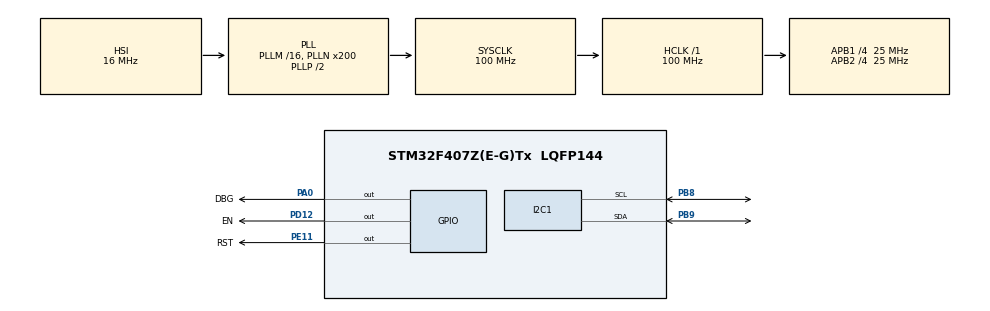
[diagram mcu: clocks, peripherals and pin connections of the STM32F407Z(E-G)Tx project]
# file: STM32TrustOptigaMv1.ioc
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I2C1.I2C_Mode=I2C_Fast
Mcu.Family=STM32F4
Mcu.Name=STM32F407Z(E-G)Tx
Mcu.Package=LQFP144
NVIC.PriorityGroup=NVIC_PRIORITYGROUP_4
NVIC.TIM2_IRQn=true\:0\:0\:false\:false\:true\:true\:true\:true
PA0-WKUP.GPIO_Label=DBG
PA0-WKUP.Signal=GPIO_Output
PB8.Mode=I2C
PB8.Signal=I2C1_SCL
PB9.Mode=I2C
PB9.Signal=I2C1_SDA
PD12.GPIO_Label=EN
PD12.PinState=GPIO_PIN_SET
PD12.Signal=GPIO_Output
PE11.GPIO_Label=RST
PE11.PinState=GPIO_PIN_SET
PE11.Signal=GPIO_Output
ProjectManager.HeapSize=0x200
ProjectManager.StackSize=0x400
ProjectManager.TargetToolchain=STM32CubeIDE
RCC.48MHZClocksFreq_Value=50000000
RCC.AHBFreq_Value=100000000
RCC.APB1CLKDivider=RCC_HCLK_DIV4
RCC.APB1Freq_Value=25000000
RCC.APB1TimFreq_Value=50000000
RCC.APB2CLKDivider=RCC_HCLK_DIV4
RCC.APB2Freq_Value=25000000
RCC.APB2TimFreq_Value=50000000
RCC.CortexFreq_Value=100000000
RCC.HCLKFreq_Value=100000000
RCC.HSE_VALUE=25000000
RCC.HSI_VALUE=16000000
RCC.LSE_VALUE=32768
RCC.PLLN=200
RCC.SYSCLKFreq_VALUE=100000000
RCC.SYSCLKSource=RCC_SYSCLKSOURCE_PLLCLK
RCC.VCOOutputFreq_Value=200000000
VP_TIM2_VS_ClockSourceINT.Mode=Internal
board=custom

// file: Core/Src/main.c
/* USER CODE BEGIN Header */
/**
  ******************************************************************************
  * @file           : main.c
  * @brief          : Main program body
  ******************************************************************************
  * @attention
  *
  * Copyright (c) 2022 STMicroelectronics.
  * All rights reserved.
  *
  * This software is licensed under terms that can be found in the LICENSE file
  * in the root directory of this software component.
  * If no LICENSE file comes with this software, it is provided AS-IS.
  *
  ******************************************************************************
  */
  /* USER CODE END Header */
  /* Includes ------------------------------------------------------------------*/
#include "main.h"

/* USER CODE BEGIN Includes */
#include "optiga/optiga_util.h"
#include "optiga/pal/pal_os_event.h"
#include "optiga/pal/pal.h"
#include "optiga/pal/pal_os_timer.h"
#include "optiga/optiga_crypt.h"
/* USER CODE END Includes */

I2C_HandleTypeDef hi2c1;

TIM_HandleTypeDef htim2;

void SystemClock_Config(void);
static void MX_GPIO_Init(void);
static void MX_I2C1_Init(void);
void MX_TIM2_Init(void);

/* USER CODE BEGIN 0 */

optiga_crypt_t* me_crypt = NULL;

uint8_t random_data_buffer[32];

uint8_t return_value = 0;

optiga_lib_status_t return_status;

optiga_util_t* me_util = NULL;

uint8_t _hash_context_buffer[OPTIGA_HASH_CONTEXT_LENGTH_SHA_256];

optiga_hash_context_t me_hash = {

		.context_buffer = _hash_context_buffer,

		.context_buffer_length = sizeof(_hash_context_buffer),

		.hash_algo = (uint8_t)OPTIGA_HASH_TYPE_SHA_256
};

uint8_t _v[] = { 0x01, 0x01, 0x01, 0x01, 0x01, 0x01, 0x01, 0x01 };

hash_data_from_host_t hash_input = {
		.buffer = _v,
		.length = sizeof(_v)
};

uint8_t hash_output[32];

static volatile optiga_lib_status_t optiga_lib_status;

optiga_key_id_t optiga_key_id;
uint32_t time_taken = 0;
uint16_t optiga_oid;

optiga_rsa_encryption_scheme_t encryption_scheme;
uint8_t encrypted_message[128];
uint16_t encrypted_message_length = sizeof(encrypted_message);

uint8_t decrypted_message[150];
uint16_t decrypted_message_length = sizeof(decrypted_message);

public_key_from_host_t public_key_from_host;

const uint8_t message[] = { "Hardware Security" };

uint8_t public_key[150];
uint16_t public_key_length = sizeof(public_key);
const uint8_t E0FC_metadata[] = { 0x20, 0x06, 0xD0, 0x01, 0x00, 0xD3, 0x01, 0x00 };

struct _L7_data {
	uint8_t msg[512];

	uint8_t msg_dig0[32];
	uint8_t msg_dig1[32];

	uint8_t sig_dig0[128];
	uint8_t sig_dig1[128];

	uint8_t	RSA_enc[2048];
	uint8_t	RSA_dec[2048];
} L7_data;

struct _test {
	uint8_t data[512];

	uint8_t digest1[32];
	uint8_t digest2[32];
}test;

static void optiga_util_callback(void* context, optiga_lib_status_t return_status)
{
	optiga_lib_status = return_status;
}

static void optiga_crypt_callback(void* context, optiga_lib_status_t return_status)
{
	optiga_lib_status = return_status;
	if (NULL != context)
	{
		// callback to upper layer here
	}
}

/* USER CODE END 0 */

int main(void)
{

	/* MCU Configuration--------------------------------------------------------*/

	/* Reset of all peripherals, Initializes the Flash interface and the Systick. */
	HAL_Init();

	/* Configure the system clock */
	SystemClock_Config();

	/* Initialize all configured peripherals */
	MX_GPIO_Init();
	MX_I2C1_Init();
	MX_TIM2_Init();
	/* USER CODE BEGIN 2 */

	me_util = optiga_util_create(0, optiga_util_callback, NULL);

	optiga_lib_status = OPTIGA_LIB_BUSY;

	return_status = optiga_util_open_application(me_util, 0);

	while (optiga_lib_status == OPTIGA_LIB_BUSY)
	{
		//Wait until the optiga_util_open_application is completed
	}

	me_crypt = optiga_crypt_create(0, optiga_crypt_callback, NULL);
	if (NULL == me_crypt)
	{
		// break;
	}

	// ============================================== Generate data and digest ==============================================

	hash_data_from_host_t to_hash;
	to_hash.buffer = (uint8_t*)&L7_data.msg;
	to_hash.length = 256;

	uint8_t(*hash_out)[32] = &L7_data.msg_dig0;
	uint8_t(*rnd_buff)[256] = &L7_data.msg;

	uint8_t rep = 2;

	while (rep--) {

		// ------------------------------ Initialize data block ----------------------------
		optiga_lib_status = OPTIGA_LIB_BUSY;

		return_status = optiga_crypt_random(me_crypt,
			OPTIGA_RNG_TYPE_TRNG,
			rnd_buff,
			256);

		if (OPTIGA_LIB_SUCCESS != return_status)
		{
			// break;
		}

		while (OPTIGA_LIB_BUSY == optiga_lib_status)
		{
			//Wait until the operation is completed
		}

		// ------------------------------ Sign data with SHA256 ----------------------------
		optiga_lib_status = OPTIGA_LIB_BUSY;

		return_status = optiga_crypt_hash(me_crypt,
			OPTIGA_HASH_TYPE_SHA_256,
			OPTIGA_CRYPT_HOST_DATA,
			&to_hash,
			hash_out
		);

		if (OPTIGA_LIB_SUCCESS != return_status)
		{
			// break;
		}

		while (OPTIGA_LIB_BUSY == optiga_lib_status)
		{
			//Wait until the operation is completed
		}

		// ------------------------- Next block of data to setup ----------------------------
		rnd_buff++;
		to_hash.buffer += 256;
		hash_out++;
	}

	// ============================================== Metadata to generate the private key ==============================================
	optiga_lib_status = OPTIGA_LIB_BUSY;
	optiga_oid = 0xE0FC;
	return_status = optiga_util_write_metadata(me_util,
		optiga_oid,
		E0FC_metadata,
		sizeof(E0FC_metadata));
	if (OPTIGA_LIB_SUCCESS != return_status)
	{
		// break;
	}

	while (OPTIGA_LIB_BUSY == optiga_lib_status)
	{
		//Wait until the operation is completed
	}

	// ============================================== Generate the private and public keys ==============================================
	optiga_lib_status = OPTIGA_LIB_BUSY;
	optiga_key_id = OPTIGA_KEY_ID_E0FC;

	return_status = optiga_crypt_rsa_generate_keypair(me_crypt,
		OPTIGA_RSA_KEY_1024_BIT_EXPONENTIAL,
		(uint8_t)(OPTIGA_KEY_USAGE_ENCRYPTION | OPTIGA_KEY_USAGE_SIGN),
		FALSE,
		&optiga_key_id,
		public_key,
		&public_key_length);

	if (OPTIGA_LIB_SUCCESS != return_status)
	{
		// break;
	}

	while (OPTIGA_LIB_BUSY == optiga_lib_status)
	{
		//Wait until the operation is completed
	}

	// ================================================ Sign the digest with private key ================================================
	uint8_t(*digest)[32] = &L7_data.msg_dig0;
	uint8_t* signature = L7_data.sig_dig0;
	uint16_t signature_length = sizeof(L7_data.sig_dig0);

	rep = 2;
	while (rep--)
	{
		optiga_lib_status = OPTIGA_LIB_BUSY;
		return_status = optiga_crypt_rsa_sign(me_crypt,
			OPTIGA_RSASSA_PKCS1_V15_SHA256,
			digest,
			32,
			OPTIGA_KEY_ID_E0FC,
			signature,
			&signature_length,
			0x0000
		);

		if (OPTIGA_LIB_SUCCESS != return_status)
		{
			// break;
		}

		while (OPTIGA_LIB_BUSY == optiga_lib_status)
		{
			//Wait until the operation is completed
		}

		digest++;
		signature += 128;
	}
	// ============================================== Encrypt the message ==============================================
	//
	//
	// ------------------------------------ Initialize data ---------------------------------
	encryption_scheme = OPTIGA_RSAES_PKCS1_V15;
	public_key_from_host.public_key = public_key;
	public_key_from_host.length = public_key_length;
	public_key_from_host.key_type = (uint8_t)OPTIGA_RSA_KEY_1024_BIT_EXPONENTIAL;

	uint8_t* data_to_enc = &L7_data;
	uint32_t enc_len = 832;
	const uint32_t enc_qnt = 100;

	uint8_t* enc_data = &L7_data.RSA_enc;

	rep = 9;

	while (rep--) {

		// ------------------------ Encrypt the data with public key --------------------------
		optiga_lib_status = OPTIGA_LIB_BUSY;

		return_status = optiga_crypt_rsa_encrypt_message(me_crypt,
			encryption_scheme,
			data_to_enc,
			(enc_len > enc_qnt) ? enc_qnt : enc_len,
			NULL,
			0,
			OPTIGA_CRYPT_HOST_DATA,
			&public_key_from_host,
			enc_data,
			&encrypted_message_length);
		if (OPTIGA_LIB_SUCCESS != return_status)
		{
			// break;
		}

		while (OPTIGA_LIB_BUSY == optiga_lib_status)
		{
			//Wait until the operation is completed
		}
		enc_len -= enc_qnt;
		data_to_enc += enc_qnt;
		enc_data += 128;
	}
	// ============================================== Data decryption ==============================================
	//
	//
	// ---------------------------- Initialize data for decryption ----------------------------
	uint8_t* dec_data = &L7_data.RSA_dec;
	uint32_t dec_qnt = 100;

	uint32_t dec_len = 100;

	enc_data = &L7_data.RSA_enc;

	rep = 9;

	while (rep--) {

		// ----------------------- Decrypt data using the public key --------------------------
		optiga_lib_status = OPTIGA_LIB_BUSY;

		return_status = optiga_crypt_rsa_decrypt_and_export(me_crypt,
			encryption_scheme,
			enc_data,
			128,
			NULL,
			0,
			optiga_key_id,
			dec_data,
			&dec_len);

		if (OPTIGA_LIB_SUCCESS != return_status)
		{
			// break;
		}

		while (OPTIGA_LIB_BUSY == optiga_lib_status)
		{
			//Wait until the operation is completed
		}

		dec_data += dec_qnt;
		enc_data += 128;
	}

	// ============================================== Verify the signature with private key ==============================================

	digest = &L7_data.msg_dig0;
	signature = L7_data.sig_dig0;
	signature_length = sizeof(L7_data.sig_dig0);

	rep = 2;
	while (rep--)
	{
		optiga_lib_status = OPTIGA_LIB_BUSY;

		return_status = optiga_crypt_rsa_verify(me_crypt,
			OPTIGA_RSASSA_PKCS1_V15_SHA256,
			digest,
			32,
			signature,
			signature_length,
			OPTIGA_CRYPT_HOST_DATA,
			&public_key_from_host,
			0x0000);

		if (OPTIGA_LIB_SUCCESS != return_status)
		{
			// break;
		}

		while (OPTIGA_LIB_BUSY == optiga_lib_status)
		{
			//Wait until the optiga_crypt_random operation is completed
		}

		digest++;
		signature += 128;
	}

	// ================================================ Modifying the message and check the signature ==============================================
	// ==================================================================== (1) ====================================================================
	to_hash.buffer = (uint8_t*)&test.data;
	to_hash.length = 256;

	hash_out = &test.digest1;
	uint16_t pos = 2;

	// ------------------- Copy the original data in test structure ----------------
	for (uint16_t index = 0; index < 512; index++)
	{
		test.data[index] = L7_data.msg[index];
	}

	// ------------------------------- Modify the data -----------------------------
	test.data[pos] = test.data[pos] ^ 0x01;

	// ============================== Calculate digest =============================
	rep = 2;
	while (rep--)
	{
		// ---------------------- Generate digest - SHA256 -------------------------
		optiga_lib_status = OPTIGA_LIB_BUSY;

		return_status = optiga_crypt_hash(me_crypt,
			OPTIGA_HASH_TYPE_SHA_256,
			OPTIGA_CRYPT_HOST_DATA,
			&to_hash,
			hash_out
		);

		if (OPTIGA_LIB_SUCCESS != return_status)
		{
			// break;
		}

		while (OPTIGA_LIB_BUSY == optiga_lib_status)
		{
			//Wait until the operation is completed
		}

		// -------------------- Next block of data to setup -------------------------
		to_hash.buffer += 256;
		hash_out++;
	}

	// ============================= Check the signature ============================
	digest = &test.digest1;
	signature = &L7_data.sig_dig0;
	signature_length = sizeof(L7_data.sig_dig0);

	rep = 2;
	while (rep--)
	{
		optiga_lib_status = OPTIGA_LIB_BUSY;

		return_status = optiga_crypt_rsa_verify(me_crypt,
			OPTIGA_RSASSA_PKCS1_V15_SHA256,
			digest,
			32,
			signature,
			signature_length,
			OPTIGA_CRYPT_HOST_DATA,
			&public_key_from_host,
			0x0000);

		if (OPTIGA_LIB_SUCCESS != return_status)
		{
			// break;
		}

		while (OPTIGA_LIB_BUSY == optiga_lib_status)
		{
			//Wait until the optiga_crypt_random operation is completed
		}

		digest++;
		signature += 128;
	}

	// ================================================ Modifying the message and check the signature ==============================================
	// ==================================================================== (2) ====================================================================
	to_hash.buffer = (uint8_t*)&test.data;
	to_hash.length = 256;

	hash_out = &test.digest1;

	uint16_t pos1 = 3;
	uint16_t pos2 = 9;
	uint16_t pos3 = 100;

	// --------------------- Data restoration for the next test --------------------
	test.data[pos] = test.data[pos] ^ 0x01;

	// ------------------------------- Modify the data -----------------------------
	uint8_t auxiliar;
	auxiliar = test.data[pos1];
	test.data[pos1] = test.data[pos2];
	test.data[pos2] = test.data[pos3];
	test.data[pos3] = auxiliar;

	// ============================== Calculate digest =============================
	rep = 2;
	while (rep--)
	{
		// ---------------------- Generate digest - SHA256 -------------------------
		optiga_lib_status = OPTIGA_LIB_BUSY;

		return_status = optiga_crypt_hash(me_crypt,
			OPTIGA_HASH_TYPE_SHA_256,
			OPTIGA_CRYPT_HOST_DATA,
			&to_hash,
			hash_out
		);

		if (OPTIGA_LIB_SUCCESS != return_status)
		{
			// break;
		}

		while (OPTIGA_LIB_BUSY == optiga_lib_status)
		{
			//Wait until the operation is completed
		}

		// -------------------- Next block of data to setup -------------------------
		to_hash.buffer += 256;
		hash_out++;
	}

	// ============================= Check the signature =============================
	digest = &test.digest1;
	signature = &L7_data.sig_dig0;
	signature_length = sizeof(L7_data.sig_dig0);

	rep = 2;
	while (rep--)
	{
		optiga_lib_status = OPTIGA_LIB_BUSY;

		return_status = optiga_crypt_rsa_verify(me_crypt,
			OPTIGA_RSASSA_PKCS1_V15_SHA256,
			digest,
			32,
			signature,
			signature_length,
			OPTIGA_CRYPT_HOST_DATA,
			&public_key_from_host,
			0x0000);

		if (OPTIGA_LIB_SUCCESS != return_status)
		{
			// break;
		}

		while (OPTIGA_LIB_BUSY == optiga_lib_status)
		{
			//Wait until the optiga_crypt_random operation is completed
		}

		digest++;
		signature += 128;
	}

	// ================================================ Modifying the message and check the signature ==============================================
	// ==================================================================== (3) ====================================================================
	to_hash.buffer = (uint8_t*)&test.data;
	to_hash.length = 256;

	hash_out = &test.digest1;

	uint16_t startPos = 19;

	// --------------------- Data restoration for the next test --------------------
	auxiliar = test.data[pos3];
	test.data[pos3] = test.data[pos2];
	test.data[pos2] = test.data[pos1];
	test.data[pos1] = auxiliar;

	// ------------------------------- Modify the data -----------------------------
	for (uint8_t index = startPos; index < startPos + 15; index++)
	{
		test.data[index] = 0;
	}

	// ============================== Calculate digest =============================
	rep = 2;
	while (rep--)
	{
		// ---------------------- Generate digest - SHA256 -------------------------
		optiga_lib_status = OPTIGA_LIB_BUSY;

		return_status = optiga_crypt_hash(me_crypt,
			OPTIGA_HASH_TYPE_SHA_256,
			OPTIGA_CRYPT_HOST_DATA,
			&to_hash,
			hash_out
		);

		if (OPTIGA_LIB_SUCCESS != return_status)
		{
			// break;
		}

		while (OPTIGA_LIB_BUSY == optiga_lib_status)
		{
			//Wait until the operation is completed
		}

		// -------------------- Next block of data to setup -------------------------
		to_hash.buffer += 256;
		hash_out++;
	}

	// ============================= Check the signature =============================
	digest = &test.digest1;
	signature = &L7_data.sig_dig0;
	signature_length = sizeof(L7_data.sig_dig0);

	rep = 2;
	while (rep--)
	{
		optiga_lib_status = OPTIGA_LIB_BUSY;

		return_status = optiga_crypt_rsa_verify(me_crypt,
			OPTIGA_RSASSA_PKCS1_V15_SHA256,
			digest,
			32,
			signature,
			signature_length,
			OPTIGA_CRYPT_HOST_DATA,
			&public_key_from_host,
			0x0000);

		if (OPTIGA_LIB_SUCCESS != return_status)
		{
			// break;
		}

		while (OPTIGA_LIB_BUSY == optiga_lib_status)
		{
			//Wait until the optiga_crypt_random operation is completed
		}

		digest++;
		signature += 128;
	}

	/* USER CODE END 2 */

	/* Infinite loop */
	while (1)
	{

	}
}

void SystemClock_Config(void)
{
	RCC_OscInitTypeDef RCC_OscInitStruct = { 0 };
	RCC_ClkInitTypeDef RCC_ClkInitStruct = { 0 };

	/** Configure the main internal regulator output voltage
	*/
	__HAL_RCC_PWR_CLK_ENABLE();
	__HAL_PWR_VOLTAGESCALING_CONFIG(PWR_REGULATOR_VOLTAGE_SCALE1);

	/** Initializes the RCC Oscillators according to the specified parameters
	* in the RCC_OscInitTypeDef structure.
	*/
	RCC_OscInitStruct.OscillatorType = RCC_OSCILLATORTYPE_HSI;
	RCC_OscInitStruct.HSIState = RCC_HSI_ON;
	RCC_OscInitStruct.HSICalibrationValue = RCC_HSICALIBRATION_DEFAULT;
	RCC_OscInitStruct.PLL.PLLState = RCC_PLL_ON;
	RCC_OscInitStruct.PLL.PLLSource = RCC_PLLSOURCE_HSI;
	RCC_OscInitStruct.PLL.PLLM = 16;
	RCC_OscInitStruct.PLL.PLLN = 200;
	RCC_OscInitStruct.PLL.PLLP = RCC_PLLP_DIV2;
	RCC_OscInitStruct.PLL.PLLQ = 4;
	if (HAL_RCC_OscConfig(&RCC_OscInitStruct) != HAL_OK)
	{
		Error_Handler();
	}

	/** Initializes the CPU, AHB and APB buses clocks
	*/
	RCC_ClkInitStruct.ClockType = RCC_CLOCKTYPE_HCLK | RCC_CLOCKTYPE_SYSCLK
		| RCC_CLOCKTYPE_PCLK1 | RCC_CLOCKTYPE_PCLK2;
	RCC_ClkInitStruct.SYSCLKSource = RCC_SYSCLKSOURCE_PLLCLK;
	RCC_ClkInitStruct.AHBCLKDivider = RCC_SYSCLK_DIV1;
	RCC_ClkInitStruct.APB1CLKDivider = RCC_HCLK_DIV4;
	RCC_ClkInitStruct.APB2CLKDivider = RCC_HCLK_DIV4;

	if (HAL_RCC_ClockConfig(&RCC_ClkInitStruct, FLASH_LATENCY_3) != HAL_OK)
	{
		Error_Handler();
	}
}

static void MX_I2C1_Init(void)
{

	hi2c1.Instance = I2C1;
	hi2c1.Init.ClockSpeed = 400000;
	hi2c1.Init.DutyCycle = I2C_DUTYCYCLE_2;
	hi2c1.Init.OwnAddress1 = 0;
	hi2c1.Init.AddressingMode = I2C_ADDRESSINGMODE_7BIT;
	hi2c1.Init.DualAddressMode = I2C_DUALADDRESS_DISABLE;
	hi2c1.Init.OwnAddress2 = 0;
	hi2c1.Init.GeneralCallMode = I2C_GENERALCALL_DISABLE;
	hi2c1.Init.NoStretchMode = I2C_NOSTRETCH_DISABLE;
	if (HAL_I2C_Init(&hi2c1) != HAL_OK)
	{
		Error_Handler();
	}

}

void MX_TIM2_Init(void)
{

	TIM_ClockConfigTypeDef sClockSourceConfig = { 0 };
	TIM_MasterConfigTypeDef sMasterConfig = { 0 };

	htim2.Instance = TIM2;
	htim2.Init.Prescaler = 0;
	htim2.Init.CounterMode = TIM_COUNTERMODE_UP;
	htim2.Init.Period = 4294967295;
	htim2.Init.ClockDivision = TIM_CLOCKDIVISION_DIV1;
	htim2.Init.AutoReloadPreload = TIM_AUTORELOAD_PRELOAD_DISABLE;
	if (HAL_TIM_Base_Init(&htim2) != HAL_OK)
	{
		Error_Handler();
	}
	sClockSourceConfig.ClockSource = TIM_CLOCKSOURCE_INTERNAL;
	if (HAL_TIM_ConfigClockSource(&htim2, &sClockSourceConfig) != HAL_OK)
	{
		Error_Handler();
	}
	sMasterConfig.MasterOutputTrigger = TIM_TRGO_RESET;
	sMasterConfig.MasterSlaveMode = TIM_MASTERSLAVEMODE_DISABLE;
	if (HAL_TIMEx_MasterConfigSynchronization(&htim2, &sMasterConfig) != HAL_OK)
	{
		Error_Handler();
	}

}

static void MX_GPIO_Init(void)
{
	GPIO_InitTypeDef GPIO_InitStruct = { 0 };

	/* GPIO Ports Clock Enable */
	__HAL_RCC_GPIOA_CLK_ENABLE();
	__HAL_RCC_GPIOE_CLK_ENABLE();
	__HAL_RCC_GPIOD_CLK_ENABLE();
	__HAL_RCC_GPIOB_CLK_ENABLE();

	/*Configure GPIO pin Output Level */
	HAL_GPIO_WritePin(DBG_GPIO_Port, DBG_Pin, GPIO_PIN_RESET);

	/*Configure GPIO pin Output Level */
	HAL_GPIO_WritePin(RST_GPIO_Port, RST_Pin, GPIO_PIN_SET);

	/*Configure GPIO pin Output Level */
	HAL_GPIO_WritePin(EN_GPIO_Port, EN_Pin, GPIO_PIN_SET);

	/*Configure GPIO pin : DBG_Pin */
	GPIO_InitStruct.Pin = DBG_Pin;
	GPIO_InitStruct.Mode = GPIO_MODE_OUTPUT_PP;
	GPIO_InitStruct.Pull = GPIO_NOPULL;
	GPIO_InitStruct.Speed = GPIO_SPEED_FREQ_LOW;
	HAL_GPIO_Init(DBG_GPIO_Port, &GPIO_InitStruct);

	/*Configure GPIO pin : RST_Pin */
	GPIO_InitStruct.Pin = RST_Pin;
	GPIO_InitStruct.Mode = GPIO_MODE_OUTPUT_PP;
	GPIO_InitStruct.Pull = GPIO_NOPULL;
	GPIO_InitStruct.Speed = GPIO_SPEED_FREQ_LOW;
	HAL_GPIO_Init(RST_GPIO_Port, &GPIO_InitStruct);

	/*Configure GPIO pin : EN_Pin */
	GPIO_InitStruct.Pin = EN_Pin;
	GPIO_InitStruct.Mode = GPIO_MODE_OUTPUT_PP;
	GPIO_InitStruct.Pull = GPIO_NOPULL;
	GPIO_InitStruct.Speed = GPIO_SPEED_FREQ_LOW;
	HAL_GPIO_Init(EN_GPIO_Port, &GPIO_InitStruct);

}

void Error_Handler(void)
{
	__disable_irq();
	while (1)
	{
	}
}
